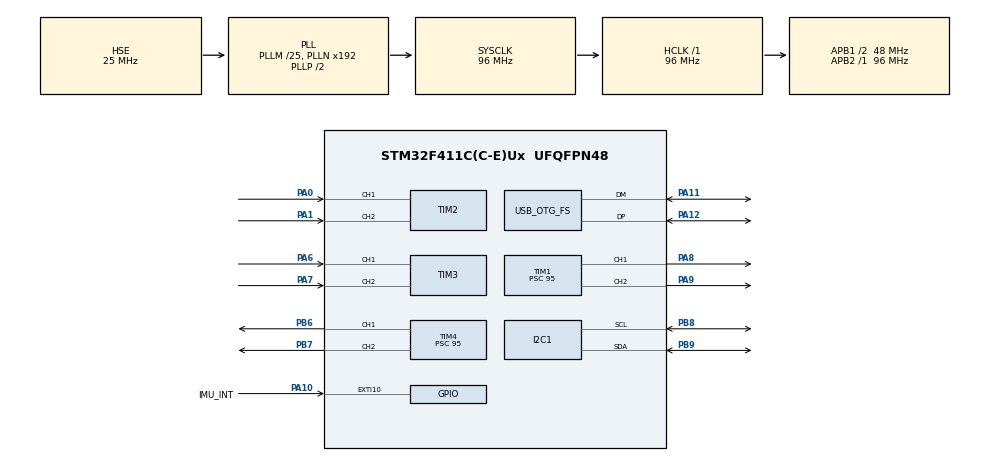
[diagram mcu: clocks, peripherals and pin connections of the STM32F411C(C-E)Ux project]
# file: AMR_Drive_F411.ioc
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FREERTOS.Events01=SystemEvents,Static,SystemEventsControlBlock
FREERTOS.INCLUDE_uxTaskGetStackHighWaterMark2=1
FREERTOS.Queues01=DriveCmdQueue,4,DriveCommand_t,0,Static,DriveCmdQueueBuffer,DriveCmdQueueControlBlock;UsbRxQueue,8,UsbRxChunk_t,0,Static,UsbRxQueueBuffer,UsbRxQueueControlBlock;TelemetryQueue,4,TelemetryData_t,0,Static,TelemetryQueueBuffer,TelemetryQueueControlBlock
FREERTOS.Tasks01=SafetyTask,48,256,StartSafetyTask,Default,NULL,Static,SafetyTaskBuffer,SafetyTaskControlBlock;MotorCtrlTask,40,384,StartMotorCtrlTask,Default,NULL,Static,MotorCtrlTaskBuffer,MotorCtrlTaskControlBlock;CommTask,32,512,StartCommTask,Default,NULL,Static,CommTaskBuffer,CommTaskControlBlock;ImuTask,24,384,StartImuTask,Default,NULL,Static,ImuTaskBuffer,ImuTaskControlBlock;TelemetryTask,16,384,StartTelemetryTask,Default,NULL,Static,TelemetryTaskBuffer,TelemetryTaskControlBlock;DiagTask,8,256,StartDiagTask,Default,NULL,Static,DiagTaskBuffer,DiagTaskControlBlock
FREERTOS.configCHECK_FOR_STACK_OVERFLOW=2
FREERTOS.configENABLE_FPU=1
FREERTOS.configTOTAL_HEAP_SIZE=16384
FREERTOS.configUSE_MALLOC_FAILED_HOOK=1
I2C1.I2C_Mode=I2C_Standard
Mcu.Family=STM32F4
Mcu.Name=STM32F411C(C-E)Ux
Mcu.Package=UFQFPN48
NVIC.EXTI15_10_IRQn=true\:7\:0\:true\:false\:true\:true\:true\:true\:true
NVIC.OTG_FS_IRQn=true\:6\:0\:true\:false\:true\:true\:false\:true\:true
NVIC.PriorityGroup=NVIC_PRIORITYGROUP_4
NVIC.TIM5_IRQn=true\:15\:0\:false\:false\:true\:false\:false\:true\:true
NVIC.TimeBase=TIM5_IRQn
NVIC.TimeBaseIP=TIM5
PA0-WKUP.Signal=S_TIM2_CH1_ETR
PA1.Signal=S_TIM2_CH2
PA10.GPIO_Label=IMU_INT
PA10.GPIO_PuPd=GPIO_NOPULL
PA10.Signal=GPXTI10
PA11.Mode=Device_Only
PA11.Signal=USB_OTG_FS_DM
PA12.Mode=Device_Only
PA12.Signal=USB_OTG_FS_DP
PA13.Mode=Serial_Wire
PA13.Signal=SYS_JTMS-SWDIO
PA14.Mode=Serial_Wire
PA14.Signal=SYS_JTCK-SWCLK
PA6.Signal=S_TIM3_CH1
PA7.Signal=S_TIM3_CH2
PA8.Signal=S_TIM1_CH1
PA9.Signal=S_TIM1_CH2
PB6.Signal=S_TIM4_CH1
PB7.Signal=S_TIM4_CH2
PB8.Mode=I2C
PB8.Signal=I2C1_SCL
PB9.Mode=I2C
PB9.Signal=I2C1_SDA
PH0\ -\ OSC_IN.Mode=HSE-External-Oscillator
PH0\ -\ OSC_IN.Signal=RCC_OSC_IN
PH1\ -\ OSC_OUT.Mode=HSE-External-Oscillator
PH1\ -\ OSC_OUT.Signal=RCC_OSC_OUT
ProjectManager.HeapSize=0x200
ProjectManager.StackSize=0x400
ProjectManager.TargetToolchain=STM32CubeIDE
RCC.48MHZClocksFreq_Value=48000000
RCC.AHBFreq_Value=96000000
RCC.APB1CLKDivider=RCC_HCLK_DIV2
RCC.APB1Freq_Value=48000000
RCC.APB1TimFreq_Value=96000000
RCC.APB2Freq_Value=96000000
RCC.APB2TimFreq_Value=96000000
RCC.CortexFreq_Value=96000000
RCC.HCLKFreq_Value=96000000
RCC.HSE_VALUE=25000000
RCC.HSI_VALUE=16000000
RCC.LSE_VALUE=32768
RCC.PLLM=25
RCC.SYSCLKFreq_VALUE=96000000
RCC.SYSCLKSource=RCC_SYSCLKSOURCE_PLLCLK
RCC.VCOOutputFreq_Value=192000000
SH.S_TIM1_CH1.0=TIM1_CH1,PWM Generation1 CH1
SH.S_TIM1_CH2.0=TIM1_CH2,PWM Generation2 CH2
SH.S_TIM2_CH1_ETR.0=TIM2_CH1,Encoder_Interface
SH.S_TIM2_CH2.0=TIM2_CH2,Encoder_Interface
SH.S_TIM3_CH1.0=TIM3_CH1,Encoder_Interface
SH.S_TIM3_CH2.0=TIM3_CH2,Encoder_Interface
SH.S_TIM4_CH1.0=TIM4_CH1,PWM Generation1 CH1
SH.S_TIM4_CH2.0=TIM4_CH2,PWM Generation2 CH2
TIM1.AutoReloadPreload=TIM_AUTORELOAD_PRELOAD_ENABLE
TIM1.Channel-PWM\ Generation1\ CH1=TIM_CHANNEL_1
TIM1.Channel-PWM\ Generation2\ CH2=TIM_CHANNEL_2
TIM1.Period=999
TIM1.Prescaler=95
TIM2.EncoderMode=TIM_ENCODERMODE_TI12
TIM2.IC1Filter=8
TIM2.IC2Filter=8
TIM3.EncoderMode=TIM_ENCODERMODE_TI12
TIM3.IC1Filter=8
TIM3.IC2Filter=8
TIM4.AutoReloadPreload=TIM_AUTORELOAD_PRELOAD_ENABLE
TIM4.Channel-PWM\ Generation1\ CH1=TIM_CHANNEL_1
TIM4.Channel-PWM\ Generation2\ CH2=TIM_CHANNEL_2
TIM4.ClockDivision=TIM_CLOCKDIVISION_DIV1
TIM4.Period=999
TIM4.Prescaler=95
USB_DEVICE.APP_RX_DATA_SIZE=512
USB_DEVICE.APP_TX_DATA_SIZE=512
USB_DEVICE.CLASS_NAME_FS=CDC
USB_DEVICE.USBD_SELF_POWERED=0
USB_DEVICE.VirtualMode=Cdc
USB_DEVICE.VirtualModeFS=Cdc_FS
USB_OTG_FS.VirtualMode=Device_Only
VP_FREERTOS_VS_CMSIS_V2.Mode=CMSIS_V2
VP_SYS_VS_tim5.Mode=TIM5
VP_TIM1_VS_ClockSourceINT.Mode=Internal
VP_TIM4_VS_ClockSourceINT.Mode=Internal
VP_USB_DEVICE_VS_USB_DEVICE_CDC_FS.Mode=CDC_FS
board=custom

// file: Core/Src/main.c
/* USER CODE BEGIN Header */
/**
  ******************************************************************************
  * @file           : main.c
  * @brief          : Main program body
  ******************************************************************************
  * @attention
  *
  * Copyright (c) 2026 STMicroelectronics.
  * All rights reserved.
  *
  * This software is licensed under terms that can be found in the LICENSE file
  * in the root directory of this software component.
  * If no LICENSE file comes with this software, it is provided AS-IS.
  *
  ******************************************************************************
  */
/* USER CODE END Header */

#include "main.h"
#include "cmsis_os.h"
#include "i2c.h"
#include "tim.h"
#include "usb_device.h"
#include "gpio.h"

void SystemClock_Config(void);
void MX_FREERTOS_Init(void);

int main(void)
{

  /* MCU Configuration--------------------------------------------------------*/

  /* Reset of all peripherals, Initializes the Flash interface and the Systick. */
  HAL_Init();

  /* Configure the system clock */
  SystemClock_Config();

  /* Initialize all configured peripherals */
  MX_GPIO_Init();
  MX_I2C1_Init();
  MX_TIM1_Init();
  MX_TIM2_Init();
  MX_TIM3_Init();
  MX_TIM4_Init();

  /* Init scheduler */
  osKernelInitialize();

  /* Call init function for freertos objects */
  MX_FREERTOS_Init();

  /* Start scheduler */
  osKernelStart();

  /* We should never get here as control is now taken by the scheduler */

  /* Infinite loop */
  while (1)
  {

  }
}

void SystemClock_Config(void)
{
  RCC_OscInitTypeDef RCC_OscInitStruct = {0};
  RCC_ClkInitTypeDef RCC_ClkInitStruct = {0};

  /** Configure the main internal regulator output voltage
  */
  __HAL_RCC_PWR_CLK_ENABLE();
  __HAL_PWR_VOLTAGESCALING_CONFIG(PWR_REGULATOR_VOLTAGE_SCALE1);

  /** Initializes the RCC Oscillators according to the specified parameters
  * in the RCC_OscInitTypeDef structure.
  */
  RCC_OscInitStruct.OscillatorType = RCC_OSCILLATORTYPE_HSE;
  RCC_OscInitStruct.HSEState = RCC_HSE_ON;
  RCC_OscInitStruct.PLL.PLLState = RCC_PLL_ON;
  RCC_OscInitStruct.PLL.PLLSource = RCC_PLLSOURCE_HSE;
  RCC_OscInitStruct.PLL.PLLM = 25;
  RCC_OscInitStruct.PLL.PLLN = 192;
  RCC_OscInitStruct.PLL.PLLP = RCC_PLLP_DIV2;
  RCC_OscInitStruct.PLL.PLLQ = 4;

  if (HAL_RCC_OscConfig(&RCC_OscInitStruct) != HAL_OK)
  {
    Error_Handler();
  }

  /** Initializes the CPU, AHB and APB buses clocks
  */
  RCC_ClkInitStruct.ClockType =
      RCC_CLOCKTYPE_HCLK |
      RCC_CLOCKTYPE_SYSCLK |
      RCC_CLOCKTYPE_PCLK1 |
      RCC_CLOCKTYPE_PCLK2;

  RCC_ClkInitStruct.SYSCLKSource = RCC_SYSCLKSOURCE_PLLCLK;
  RCC_ClkInitStruct.AHBCLKDivider = RCC_SYSCLK_DIV1;
  RCC_ClkInitStruct.APB1CLKDivider = RCC_HCLK_DIV2;
  RCC_ClkInitStruct.APB2CLKDivider = RCC_HCLK_DIV1;

  if (HAL_RCC_ClockConfig(
          &RCC_ClkInitStruct,
          FLASH_LATENCY_3) != HAL_OK)
  {
    Error_Handler();
  }
}

void HAL_TIM_PeriodElapsedCallback(TIM_HandleTypeDef *htim)
{

  if (htim->Instance == TIM5)
  {
    HAL_IncTick();
  }

}

void Error_Handler(void)
{
  __disable_irq();
  while (1)
  {
  }
}

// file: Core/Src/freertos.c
/* USER CODE BEGIN Header */

/**

  ******************************************************************************

  * File Name          : freertos.c

  * Description        : Code for freertos applications

  ******************************************************************************

  * @attention

  *

  * Copyright (c) 2026 STMicroelectronics.

  * All rights reserved.

  *

  * This software is licensed under terms that can be found in the LICENSE file

  * in the root directory of this software component.

  * If no LICENSE file comes with this software, it is provided AS-IS.

  *

  ******************************************************************************

  */

/* USER CODE END Header */

#include "FreeRTOS.h"

#include "task.h"

#include "main.h"

#include "cmsis_os.h"

/* USER CODE BEGIN Includes */

#include "app_types.h"

#include "amr/amr_messages.h"

#include "app_comm.h"

#include "distance_controller.h"

#include "drive_command_policy.h"

#include "drive_encoder.h"

#include "drive_kinematics.h"

#include "drive_odometry.h"

#include "drive_motor.h"

#include "drive_motion_profile.h"

#include "drive_speed_control.h"

#include "i2c.h"

#include "imu_heading.h"

#include "imu_heading_hold.h"

#include "imu_bno055.h"

#include "turn_controller.h"

/* USER CODE END Includes */

typedef StaticTask_t osStaticThreadDef_t;

typedef StaticQueue_t osStaticMessageQDef_t;

typedef StaticEventGroup_t osStaticEventGroupDef_t;

/* USER CODE BEGIN PD */

/*
 * V3.2 NORMAL STOP ACTIVE BRAKE
 *
 * A deliberate WHEEL_SPEED 0/0 command keeps the motor-enable authority
 * alive briefly so DriveSpeedControl_Update(0, 0, measured, measured)
 * can execute the V3 active-brake branch before the bridge is released.
 *
 * FAULT / ESTOP / motor-disable paths still stop immediately.
 */
#define DRIVE_NORMAL_STOP_BRAKE_TIMEOUT_MS        (500U)
#define DRIVE_NORMAL_STOP_SETTLE_RAD_S             (0.03f)
#define DRIVE_NORMAL_STOP_SETTLE_HOLD_MS            (40U)

/* USER CODE END PD */

/* USER CODE BEGIN Variables */

volatile int64_t g_encoder_left_count = 0;

volatile int64_t g_encoder_right_count = 0;

volatile int32_t g_encoder_left_delta = 0;

volatile int32_t g_encoder_right_delta = 0;

volatile float g_wheel_left_position_m = 0.0f;

volatile float g_wheel_right_position_m = 0.0f;

volatile float g_wheel_left_speed_m_s = 0.0f;

volatile float g_wheel_right_speed_m_s = 0.0f;

volatile float g_wheel_left_speed_raw_m_s = 0.0f;

volatile float g_wheel_right_speed_raw_m_s = 0.0f;

volatile float g_wheel_left_rpm = 0.0f;

volatile float g_wheel_right_rpm = 0.0f;

volatile float g_wheel_left_speed_rad_s = 0.0f;

volatile float g_wheel_right_speed_rad_s = 0.0f;

volatile float g_drive_target_left_rad_s = 0.0f;

volatile float g_drive_target_right_rad_s = 0.0f;

volatile float g_drive_error_left_rad_s = 0.0f;

volatile float g_drive_error_right_rad_s = 0.0f;

volatile int16_t g_drive_left_pwm = 0;

volatile int16_t g_drive_right_pwm = 0;

volatile uint32_t g_drive_command_age_ms = 0U;

volatile uint32_t g_drive_timeout_count = 0U;

volatile uint8_t g_drive_command_active = 0U;

volatile uint32_t g_drive_command_refresh_count = 0U;

volatile uint32_t g_drive_controller_reset_count = 0U;

volatile uint8_t g_imu_ready = 0U;

volatile uint8_t g_imu_who_am_i = 0U;

volatile uint32_t g_imu_sample_count = 0U;

volatile uint32_t g_imu_error_count = 0U;

volatile uint32_t g_imu_calibration_count = 0U;

volatile uint32_t g_imu_calibration_reset_count = 0U;

volatile float g_imu_accel_x_m_s2 = 0.0f;

volatile float g_imu_accel_y_m_s2 = 0.0f;

volatile float g_imu_accel_z_m_s2 = 0.0f;

volatile float g_imu_temperature_c = 0.0f;

volatile float g_imu_gyro_bias_z_dps = 0.0f;

volatile float g_imu_gyro_z_dps = 0.0f;

volatile float g_imu_gyro_z_rad_s = 0.0f;

volatile float g_imu_yaw_rad = 0.0f;

/* Display-only diagnostics for STM32CubeIDE Live Expressions.

 * These variables are NOT used by any controller or estimator.

 */

volatile float g_imu_yaw_deg = 0.0f;

volatile float g_imu_bno_fused_yaw_deg = 0.0f;

/* User-facing zero command for CubeIDE Live Expressions.

 *

 * Write 1 while the robot is physically aligned with the chosen reference.

 * The IMU task consumes it on a fresh valid sample, makes current yaw = 0 deg,

 * then automatically writes it back to 0.

 *

 * Diagnostics only:

 *   g_imu_zero_count   increments after each successful zero.

 *   g_imu_zero_status  0=idle, 1=success, 2=waiting/not-ready.

 */

volatile uint8_t g_imu_zero_request = 0U;

volatile uint32_t g_imu_zero_count = 0U;

volatile uint8_t g_imu_zero_status = 0U;

/* BNO055 source-filter debug variables.

 * These are diagnostics only; they are not used by control logic.

 */

volatile float g_imu_raw_gyro_z_dps = 0.0f;

volatile float g_imu_filtered_gyro_z_dps = 0.0f;

volatile float g_imu_bno_fused_yaw_rad = 0.0f;

volatile uint32_t g_imu_stationary_count = 0U;

volatile uint32_t g_imu_rejected_orientation_count = 0U;

volatile uint8_t g_heading_hold_active = 0U;

volatile float g_heading_reference_rad = 0.0f;

volatile float g_heading_error_rad = 0.0f;

volatile float g_heading_correction_rad_s = 0.0f;

volatile float g_heading_desired_yaw_rate_rad_s = 0.0f;

volatile float g_heading_yaw_rate_error_rad_s = 0.0f;

volatile float g_heading_rate_ff_correction_rad_s = 0.0f;

volatile float g_heading_rate_p_correction_rad_s = 0.0f;

volatile float g_heading_rate_i_correction_rad_s = 0.0f;

volatile uint8_t g_heading_controller_version =

    (IMU_HEADING_HOLD_V2_ENABLE != 0) ? 2U : 1U;

volatile uint8_t g_heading_correction_saturated = 0U;

volatile uint8_t g_motion_profile_status = DRIVE_MOTION_PROFILE_IDLE;

volatile uint8_t g_motion_profile_fault = 0U;

volatile uint8_t g_turn_status = TURN_CONTROLLER_IDLE;

volatile uint8_t g_turn_active = 0U;

volatile float g_turn_target_angle_rad = 0.0f;

volatile float g_turn_traveled_angle_rad = 0.0f;

volatile float g_turn_error_rad = 0.0f;

volatile float g_turn_yaw_rate_command_rad_s = 0.0f;

volatile uint32_t g_turn_complete_count = 0U;

volatile uint32_t g_turn_timeout_count = 0U;

volatile uint32_t g_turn_imu_fault_count = 0U;

volatile uint8_t g_distance_status = DISTANCE_CONTROLLER_IDLE;

volatile uint8_t g_distance_active = 0U;

volatile float g_distance_target_m = 0.0f;

volatile float g_distance_traveled_m = 0.0f;

volatile float g_distance_remaining_m = 0.0f;

volatile float g_distance_speed_command_m_s = 0.0f;

volatile uint32_t g_distance_complete_count = 0U;

volatile uint32_t g_distance_timeout_count = 0U;

volatile uint32_t g_distance_measurement_fault_count = 0U;

volatile uint8_t g_odom_ready = 0U;

volatile float g_odom_x_m = 0.0f;

volatile float g_odom_y_m = 0.0f;

volatile float g_odom_yaw_rad = 0.0f;

volatile float g_odom_linear_velocity_m_s = 0.0f;

volatile float g_odom_angular_velocity_rad_s = 0.0f;

volatile uint32_t g_odom_sample_count = 0U;

volatile uint32_t g_odom_error_count = 0U;

volatile uint32_t g_odom_reset_count = 0U;

/* USER CODE END Variables */

/* Definitions for SafetyTask */

osThreadId_t SafetyTaskHandle;

uint32_t SafetyTaskBuffer[ 256 ];

osStaticThreadDef_t SafetyTaskControlBlock;

const osThreadAttr_t SafetyTask_attributes = {

  .name = "SafetyTask",

  .cb_mem = &SafetyTaskControlBlock,

  .cb_size = sizeof(SafetyTaskControlBlock),

  .stack_mem = &SafetyTaskBuffer[0],

  .stack_size = sizeof(SafetyTaskBuffer),

  .priority = (osPriority_t) osPriorityRealtime,

};

/* Definitions for MotorCtrlTask */

osThreadId_t MotorCtrlTaskHandle;

uint32_t MotorCtrlTaskBuffer[ 384 ];

osStaticThreadDef_t MotorCtrlTaskControlBlock;

const osThreadAttr_t MotorCtrlTask_attributes = {

  .name = "MotorCtrlTask",

  .cb_mem = &MotorCtrlTaskControlBlock,

  .cb_size = sizeof(MotorCtrlTaskControlBlock),

  .stack_mem = &MotorCtrlTaskBuffer[0],

  .stack_size = sizeof(MotorCtrlTaskBuffer),

  .priority = (osPriority_t) osPriorityHigh,

};

/* Definitions for CommTask */

osThreadId_t CommTaskHandle;

uint32_t CommTaskBuffer[ 512 ];

osStaticThreadDef_t CommTaskControlBlock;

const osThreadAttr_t CommTask_attributes = {

  .name = "CommTask",

  .cb_mem = &CommTaskControlBlock,

  .cb_size = sizeof(CommTaskControlBlock),

  .stack_mem = &CommTaskBuffer[0],

  .stack_size = sizeof(CommTaskBuffer),

  .priority = (osPriority_t) osPriorityAboveNormal,

};

/* Definitions for ImuTask */

osThreadId_t ImuTaskHandle;

uint32_t ImuTaskBuffer[ 384 ];

osStaticThreadDef_t ImuTaskControlBlock;

const osThreadAttr_t ImuTask_attributes = {

  .name = "ImuTask",

  .cb_mem = &ImuTaskControlBlock,

  .cb_size = sizeof(ImuTaskControlBlock),

  .stack_mem = &ImuTaskBuffer[0],

  .stack_size = sizeof(ImuTaskBuffer),

  .priority = (osPriority_t) osPriorityNormal,

};

/* Definitions for TelemetryTask */

osThreadId_t TelemetryTaskHandle;

uint32_t TelemetryTaskBuffer[ 384 ];

osStaticThreadDef_t TelemetryTaskControlBlock;

const osThreadAttr_t TelemetryTask_attributes = {

  .name = "TelemetryTask",

  .cb_mem = &TelemetryTaskControlBlock,

  .cb_size = sizeof(TelemetryTaskControlBlock),

  .stack_mem = &TelemetryTaskBuffer[0],

  .stack_size = sizeof(TelemetryTaskBuffer),

  .priority = (osPriority_t) osPriorityBelowNormal,

};

/* Definitions for DiagTask */

osThreadId_t DiagTaskHandle;

uint32_t DiagTaskBuffer[ 256 ];

osStaticThreadDef_t DiagTaskControlBlock;

const osThreadAttr_t DiagTask_attributes = {

  .name = "DiagTask",

  .cb_mem = &DiagTaskControlBlock,

  .cb_size = sizeof(DiagTaskControlBlock),

  .stack_mem = &DiagTaskBuffer[0],

  .stack_size = sizeof(DiagTaskBuffer),

  .priority = (osPriority_t) osPriorityLow,

};

/* Definitions for DriveCmdQueue */

osMessageQueueId_t DriveCmdQueueHandle;

uint8_t DriveCmdQueueBuffer[ 4 * sizeof( DriveCommand_t ) ];

osStaticMessageQDef_t DriveCmdQueueControlBlock;

const osMessageQueueAttr_t DriveCmdQueue_attributes = {

  .name = "DriveCmdQueue",

  .cb_mem = &DriveCmdQueueControlBlock,

  .cb_size = sizeof(DriveCmdQueueControlBlock),

  .mq_mem = &DriveCmdQueueBuffer,

  .mq_size = sizeof(DriveCmdQueueBuffer)

};

/* Definitions for UsbRxQueue */

osMessageQueueId_t UsbRxQueueHandle;

uint8_t UsbRxQueueBuffer[ 8 * sizeof( UsbRxChunk_t ) ];

osStaticMessageQDef_t UsbRxQueueControlBlock;

const osMessageQueueAttr_t UsbRxQueue_attributes = {

  .name = "UsbRxQueue",

  .cb_mem = &UsbRxQueueControlBlock,

  .cb_size = sizeof(UsbRxQueueControlBlock),

  .mq_mem = &UsbRxQueueBuffer,

  .mq_size = sizeof(UsbRxQueueBuffer)

};

/* Definitions for TelemetryQueue */

osMessageQueueId_t TelemetryQueueHandle;

uint8_t TelemetryQueueBuffer[ 4 * sizeof( TelemetryData_t ) ];

osStaticMessageQDef_t TelemetryQueueControlBlock;

const osMessageQueueAttr_t TelemetryQueue_attributes = {

  .name = "TelemetryQueue",

  .cb_mem = &TelemetryQueueControlBlock,

  .cb_size = sizeof(TelemetryQueueControlBlock),

  .mq_mem = &TelemetryQueueBuffer,

  .mq_size = sizeof(TelemetryQueueBuffer)

};

/* Definitions for SystemEvents */

osEventFlagsId_t SystemEventsHandle;

osStaticEventGroupDef_t SystemEventsControlBlock;

const osEventFlagsAttr_t SystemEvents_attributes = {

  .name = "SystemEvents",

  .cb_mem = &SystemEventsControlBlock,

  .cb_size = sizeof(SystemEventsControlBlock),

};

void StartSafetyTask(void *argument);

void StartMotorCtrlTask(void *argument);

void StartCommTask(void *argument);

void StartImuTask(void *argument);

void StartTelemetryTask(void *argument);

void StartDiagTask(void *argument);

extern void MX_USB_DEVICE_Init(void);

void MX_FREERTOS_Init(void); /* (MISRA C 2004 rule 8.1) */

/* Hook prototypes */

void vApplicationStackOverflowHook(xTaskHandle xTask, signed char *pcTaskName);

void vApplicationMallocFailedHook(void);

/* USER CODE BEGIN 4 */

void vApplicationStackOverflowHook(xTaskHandle xTask, signed char *pcTaskName)

{

   /* Run time stack overflow checking is performed if

   configCHECK_FOR_STACK_OVERFLOW is defined to 1 or 2. This hook function is

   called if a stack overflow is detected. */

}

/* USER CODE END 4 */

/* USER CODE BEGIN 5 */

void vApplicationMallocFailedHook(void)

{

   /* vApplicationMallocFailedHook() will only be called if

   configUSE_MALLOC_FAILED_HOOK is set to 1 in FreeRTOSConfig.h. It is a hook

   function that will get called if a call to pvPortMalloc() fails.

   pvPortMalloc() is called internally by the kernel whenever a task, queue,

   timer or semaphore is created. It is also called by various parts of the

   demo application. If heap_1.c or heap_2.c are used, then the size of the

   heap available to pvPortMalloc() is defined by configTOTAL_HEAP_SIZE in

   FreeRTOSConfig.h, and the xPortGetFreeHeapSize() API function can be used

   to query the size of free heap space that remains (although it does not

   provide information on how the remaining heap might be fragmented). */

}

/* USER CODE END 5 */

void MX_FREERTOS_Init(void) {

  /* Create the queue(s) */

  /* creation of DriveCmdQueue */

  DriveCmdQueueHandle = osMessageQueueNew (4, sizeof(DriveCommand_t), &DriveCmdQueue_attributes);

  /* creation of UsbRxQueue */

  UsbRxQueueHandle = osMessageQueueNew (8, sizeof(UsbRxChunk_t), &UsbRxQueue_attributes);

  /* creation of TelemetryQueue */

  TelemetryQueueHandle = osMessageQueueNew (4, sizeof(TelemetryData_t), &TelemetryQueue_attributes);

  /* Create the thread(s) */

  /* creation of SafetyTask */

  SafetyTaskHandle = osThreadNew(StartSafetyTask, NULL, &SafetyTask_attributes);

  /* creation of MotorCtrlTask */

  MotorCtrlTaskHandle = osThreadNew(StartMotorCtrlTask, NULL, &MotorCtrlTask_attributes);

  /* creation of CommTask */

  CommTaskHandle = osThreadNew(StartCommTask, NULL, &CommTask_attributes);

  /* creation of ImuTask */

  ImuTaskHandle = osThreadNew(StartImuTask, NULL, &ImuTask_attributes);

  /* creation of TelemetryTask */

  TelemetryTaskHandle = osThreadNew(StartTelemetryTask, NULL, &TelemetryTask_attributes);

  /* creation of DiagTask */

  DiagTaskHandle = osThreadNew(StartDiagTask, NULL, &DiagTask_attributes);

  /* Create the event(s) */

  /* creation of SystemEvents */

  SystemEventsHandle = osEventFlagsNew(&SystemEvents_attributes);

}

void StartSafetyTask(void *argument)

{

  /* init code for USB_DEVICE */

  MX_USB_DEVICE_Init();

  /* USER CODE BEGIN StartSafetyTask */

    if (!DriveMotor_Init())

    {

        (void)osEventFlagsSet(SystemEventsHandle, AMR_EVT_FAULT);

    }

    for (;;)

    {

        uint32_t flags = osEventFlagsGet(SystemEventsHandle);

        if ((flags & (AMR_EVT_MOTOR_ENABLED |

                      AMR_EVT_FAULT |

                      AMR_EVT_ESTOP)) != AMR_EVT_MOTOR_ENABLED)

        {

            DriveMotor_Stop();

        }

        osDelay(5);

    }

  /* USER CODE END StartSafetyTask */

}

void StartMotorCtrlTask(void *argument)

{

  /* USER CODE BEGIN StartMotorCtrlTask */

    DriveEncoderSample_t encoder = {0};

    DriveKinematicsSample_t kinematics = {0};

    DriveSpeedControlOutput_t control_output = {0};

    DriveMotionProfileState_t motion_profile_state = {0};

    DriveMotionProfileOutput_t motion_profile_output = {0};

    ImuHeadingHoldState_t heading_hold_state = {0};

    ImuHeadingHoldOutput_t heading_hold_output = {0};

    TurnControllerState_t turn_state = {0};

    TurnControllerOutput_t turn_output = {0};

    DistanceControllerState_t distance_state = {0};

    DistanceControllerOutput_t distance_output = {0};

    DriveOdometryState_t odometry_state = {0};

    DriveOdometryOutput_t odometry_output = {0};

    DriveCommand_t active_command = {0};

    uint32_t next_wake = osKernelGetTickCount();

    bool command_active = false;

    bool kinematics_valid = false;

    /* V3.2 normal-command stop handoff state. */
    bool normal_stop_brake_active = false;
    uint32_t normal_stop_brake_started_ms = 0U;
    uint32_t normal_stop_brake_settle_started_ms = 0U;

    DriveKinematics_Init();

    DriveSpeedControl_Init();

    DriveMotionProfile_Init(&motion_profile_state);

    ImuHeadingHold_Init(&heading_hold_state);

    TurnController_Init(&turn_state);

    DistanceController_Init(&distance_state);

    DriveOdometry_Init(&odometry_state);

    if (!DriveEncoder_Init())

    {

        (void)osEventFlagsSet(SystemEventsHandle, AMR_EVT_FAULT);

    }

    for (;;)

    {

        const uint32_t now_ms = osKernelGetTickCount();

        if (DriveEncoder_Sample(&encoder))

        {

            g_encoder_left_count = encoder.left_total_count;

            g_encoder_right_count = encoder.right_total_count;

            g_encoder_left_delta = encoder.left_delta_count;

            g_encoder_right_delta = encoder.right_delta_count;

            if (DriveKinematics_Update(&encoder, &kinematics))

            {

                kinematics_valid = true;

                g_wheel_left_position_m = kinematics.left_position_m;

                g_wheel_right_position_m = kinematics.right_position_m;

                g_wheel_left_speed_m_s = kinematics.left_speed_m_s;

                g_wheel_right_speed_m_s = kinematics.right_speed_m_s;

                g_wheel_left_speed_raw_m_s =

                    kinematics.left_speed_raw_m_s;

                g_wheel_right_speed_raw_m_s =

                    kinematics.right_speed_raw_m_s;

                g_wheel_left_rpm = kinematics.left_speed_rpm;

                g_wheel_right_rpm = kinematics.right_speed_rpm;

                g_wheel_left_speed_rad_s =

                    kinematics.left_speed_rad_s;

                g_wheel_right_speed_rad_s =

                    kinematics.right_speed_rad_s;

                const bool odometry_updated =

                    DriveOdometry_Update(

                        &odometry_state,

                        (g_imu_ready != 0U),

                        kinematics.left_position_m,

                        kinematics.right_position_m,

                        kinematics.left_speed_m_s,

                        kinematics.right_speed_m_s,

                        g_imu_yaw_rad,

                        g_imu_gyro_z_rad_s,

                        now_ms,

                        &odometry_output);

                g_odom_ready =

                    (odometry_updated && odometry_output.valid) ? 1U : 0U;

                g_odom_x_m = odometry_output.x_m;

                g_odom_y_m = odometry_output.y_m;

                g_odom_yaw_rad = odometry_output.yaw_rad;

                g_odom_linear_velocity_m_s =

                    odometry_output.linear_velocity_m_s;

                g_odom_angular_velocity_rad_s =

                    odometry_output.angular_velocity_rad_s;

                g_odom_sample_count = odometry_output.sample_count;

                g_odom_reset_count = odometry_state.reset_count;

                if (!odometry_updated && (g_imu_ready != 0U))

                {

                    ++g_odom_error_count;

                }

            }

        }

        /* Queue chi giu lenh moi nhat; doc het neu co hon mot lenh. */

        DriveCommand_t received_command;

        DriveCommandPolicy_t command_policy =

        {

            .preserve_speed_controller = false,

            .reset_heading_hold = true

        };

        bool received_new_command = false;

        while (osMessageQueueGet(DriveCmdQueueHandle,

                                 &received_command,

                                 NULL,

                                 0U) == osOK)

        {

            command_policy = DriveCommandPolicy_Evaluate(

                command_active,

                &active_command,

                &received_command);

            active_command = received_command;

            received_new_command = true;

        }

        const bool received_zero_wheel_command =
            received_new_command &&
            (active_command.command_type == AMR_MOTION_COMMAND_WHEEL_SPEED) &&
            (active_command.left_target_mrad_s == 0) &&
            (active_command.right_target_mrad_s == 0);

        if (received_new_command && !received_zero_wheel_command)
        {
            normal_stop_brake_active = false;
            normal_stop_brake_settle_started_ms = 0U;
        }

        if (received_new_command)

        {

            /*
             * V3.2: preserve wheel-controller output state for an explicit
             * normal 0/0 stop so the active-brake branch can slew from the
             * actual last PWM instead of being reset to zero first.
             */
            if (command_policy.preserve_speed_controller ||
                received_zero_wheel_command)

            {

                ++g_drive_command_refresh_count;

                if (command_policy.reset_heading_hold)

                {

                    DriveMotionProfile_Reset(&motion_profile_state);

                    ImuHeadingHold_Reset(&heading_hold_state);

                }

            }

            else

            {

                DriveSpeedControl_Reset();

                DriveMotionProfile_Reset(&motion_profile_state);

                ImuHeadingHold_Reset(&heading_hold_state);

                TurnController_Cancel(&turn_state);

                DistanceController_Cancel(&distance_state);

                ++g_drive_controller_reset_count;

                g_motion_profile_status = DRIVE_MOTION_PROFILE_IDLE;

                g_motion_profile_fault = 0U;

                g_turn_active = 0U;

                g_turn_status = TURN_CONTROLLER_IDLE;

                g_turn_target_angle_rad = 0.0f;

                g_turn_traveled_angle_rad = 0.0f;

                g_turn_error_rad = 0.0f;

                g_turn_yaw_rate_command_rad_s = 0.0f;

                g_distance_active = 0U;

                g_distance_status = DISTANCE_CONTROLLER_IDLE;

                g_distance_target_m = 0.0f;

                g_distance_traveled_m = 0.0f;

                g_distance_remaining_m = 0.0f;

                g_distance_speed_command_m_s = 0.0f;

            }

            if (active_command.command_type ==

                AMR_MOTION_COMMAND_TURN_RELATIVE)

            {

                const bool turn_started =

                    (g_imu_ready != 0U) &&

                    TurnController_Start(

                        &turn_state,

                        (float)active_command.turn_angle_mrad * 0.001f,

                        (float)active_command.turn_max_yaw_rate_mrad_s *

                            0.001f,

                        (uint32_t)active_command.timeout_ms,

                        g_imu_yaw_rad,

                        now_ms);

                if (!turn_started)

                {

                    DriveMotor_Stop();

                    command_active = false;

                    g_drive_command_active = 0U;

                    g_turn_active = 0U;

                    g_turn_status = TURN_CONTROLLER_FAULT_IMU;

                    ++g_turn_imu_fault_count;

                    (void)osEventFlagsClear(

                        SystemEventsHandle,

                        AMR_EVT_CMD_VALID | AMR_EVT_MOTOR_ENABLED);

                    (void)osEventFlagsSet(SystemEventsHandle,

                                          AMR_EVT_FAULT);

                }

                else

                {

                    command_active = true;

                    g_drive_command_active = 1U;

                    g_turn_active = 1U;

                    g_turn_status = TURN_CONTROLLER_RUNNING;

                    g_turn_target_angle_rad =

                        (float)active_command.turn_angle_mrad * 0.001f;

                    g_turn_traveled_angle_rad = 0.0f;

                    g_turn_error_rad = g_turn_target_angle_rad;

                    g_turn_yaw_rate_command_rad_s = 0.0f;

                }

            }

            else if (active_command.command_type ==

                     AMR_MOTION_COMMAND_DRIVE_DISTANCE)

            {

                const bool distance_started =

                    kinematics_valid &&

                    (g_imu_ready != 0U) &&

                    DistanceController_Start(

                        &distance_state,

                        (float)active_command.distance_mm * 0.001f,

                        (float)active_command.distance_max_speed_mm_s *

                            0.001f,

                        (uint32_t)active_command.timeout_ms,

                        kinematics.left_position_m,

                        kinematics.right_position_m,

                        now_ms);

                if (!distance_started)

                {

                    DriveMotor_Stop();

                    command_active = false;

                    g_drive_command_active = 0U;

                    g_distance_active = 0U;

                    g_distance_status =

                        (kinematics_valid && (g_imu_ready != 0U)) ?

                        (uint8_t)distance_state.status :

                        (uint8_t)DISTANCE_CONTROLLER_FAULT_MEASUREMENT;

                    ++g_distance_measurement_fault_count;

                    (void)osEventFlagsClear(

                        SystemEventsHandle,

                        AMR_EVT_CMD_VALID | AMR_EVT_MOTOR_ENABLED);

                    (void)osEventFlagsSet(SystemEventsHandle,

                                          AMR_EVT_FAULT);

                }

                else

                {

                    command_active = true;

                    g_drive_command_active = 1U;

                    g_distance_active = 1U;

                    g_distance_status = DISTANCE_CONTROLLER_RUNNING;

                    g_distance_target_m =

                        (float)active_command.distance_mm * 0.001f;

                    g_distance_traveled_m = 0.0f;

                    g_distance_remaining_m = g_distance_target_m;

                    g_distance_speed_command_m_s = 0.0f;

                }

            }

            else

            {

                command_active = true;

                g_drive_command_active = 1U;

            }

        }

        const uint32_t flags = osEventFlagsGet(SystemEventsHandle);

        if (command_active)

        {

            uint32_t command_age_ms =

                now_ms - active_command.received_at_ms;

            g_drive_command_age_ms = command_age_ms;

            if ((active_command.command_type ==

                 AMR_MOTION_COMMAND_WHEEL_SPEED) &&

                ((active_command.left_target_mrad_s != 0) ||
                 (active_command.right_target_mrad_s != 0)) &&

                (command_age_ms >

                 (uint32_t)active_command.timeout_ms))

            {

                /* Mat lenh: dung tai MotorCtrlTask va latch FAULT. */

                DriveMotor_Stop();

                DriveSpeedControl_Reset();

                normal_stop_brake_active = false;
                normal_stop_brake_settle_started_ms = 0U;

                DriveMotionProfile_Reset(&motion_profile_state);

                ImuHeadingHold_Reset(&heading_hold_state);

                TurnController_Cancel(&turn_state);

                DistanceController_Cancel(&distance_state);

                command_active = false;

                g_drive_command_active = 0U;

                g_drive_left_pwm = 0;

                g_drive_right_pwm = 0;

                g_drive_target_left_rad_s = 0.0f;

                g_drive_target_right_rad_s = 0.0f;

                g_heading_hold_active = 0U;

                g_heading_reference_rad = 0.0f;

                g_heading_error_rad = 0.0f;

                g_heading_correction_rad_s = 0.0f;

                g_turn_active = 0U;

                g_turn_status = TURN_CONTROLLER_IDLE;

                g_distance_active = 0U;

                g_distance_status = DISTANCE_CONTROLLER_IDLE;

                ++g_drive_timeout_count;

                (void)osEventFlagsClear(

                    SystemEventsHandle,

                    AMR_EVT_CMD_VALID | AMR_EVT_MOTOR_ENABLED);

                (void)osEventFlagsSet(SystemEventsHandle,

                                      AMR_EVT_FAULT);

            }

            else if (((flags & (AMR_EVT_FAULT | AMR_EVT_ESTOP)) != 0U) ||

                     ((flags & AMR_EVT_MOTOR_ENABLED) == 0U))

            {

                DriveMotor_Stop();

                DriveSpeedControl_Reset();

                normal_stop_brake_active = false;
                normal_stop_brake_settle_started_ms = 0U;

                DriveMotionProfile_Reset(&motion_profile_state);

                ImuHeadingHold_Reset(&heading_hold_state);

                TurnController_Cancel(&turn_state);

                DistanceController_Cancel(&distance_state);

                command_active = false;

                g_drive_command_active = 0U;

                g_drive_left_pwm = 0;

                g_drive_right_pwm = 0;

                g_heading_hold_active = 0U;

                g_heading_reference_rad = 0.0f;

                g_heading_error_rad = 0.0f;

                g_heading_correction_rad_s = 0.0f;

                g_turn_active = 0U;

                g_turn_status = TURN_CONTROLLER_IDLE;

                g_distance_active = 0U;

                g_distance_status = DISTANCE_CONTROLLER_IDLE;

            }

            else if ((active_command.command_type ==

                      AMR_MOTION_COMMAND_WHEEL_SPEED) &&

                     (active_command.left_target_mrad_s == 0) &&

                     (active_command.right_target_mrad_s == 0))

            {

                /*
                 * V3.2 NORMAL STOP ACTIVE BRAKE
                 *
                 * Explicit WHEEL_SPEED 0/0 is a deliberate stop, not a fault.
                 * Keep motor authority active long enough for the V3
                 * drive-speed controller to apply bounded reverse torque from
                 * measured wheel speed. Only after both measured wheel speeds remain settled
                 * continuously (or the bounded handoff timeout expires) do we
                 * release MOTOR_ENABLED and hard-stop the bridge.
                 *
                 * FAULT / ESTOP / motor-disable is handled by the branch above
                 * and remains an immediate DriveMotor_Stop().
                 */
                DriveMotionProfile_Reset(&motion_profile_state);

                ImuHeadingHold_Reset(&heading_hold_state);

                TurnController_Cancel(&turn_state);

                DistanceController_Cancel(&distance_state);

                g_motion_profile_status = DRIVE_MOTION_PROFILE_IDLE;

                g_motion_profile_fault = 0U;

                g_heading_hold_active = 0U;

                g_heading_reference_rad = 0.0f;

                g_heading_error_rad = 0.0f;

                g_heading_correction_rad_s = 0.0f;

                g_turn_active = 0U;

                g_turn_status = TURN_CONTROLLER_IDLE;

                g_distance_active = 0U;

                g_distance_status = DISTANCE_CONTROLLER_IDLE;

                g_drive_target_left_rad_s = 0.0f;

                g_drive_target_right_rad_s = 0.0f;

                if (!kinematics_valid)
                {
                    /*
                     * No trustworthy wheel-speed feedback: do not attempt
                     * active braking. Fall back to the original hard stop.
                     */
                    DriveMotor_Stop();

                    DriveSpeedControl_Reset();

                    normal_stop_brake_active = false;
                    normal_stop_brake_settle_started_ms = 0U;

                    command_active = false;

                    g_drive_command_active = 0U;

                    g_drive_left_pwm = 0;

                    g_drive_right_pwm = 0;

                    g_drive_error_left_rad_s = 0.0f;

                    g_drive_error_right_rad_s = 0.0f;

                    (void)osEventFlagsClear(

                        SystemEventsHandle,

                        AMR_EVT_CMD_VALID | AMR_EVT_MOTOR_ENABLED);
                }
                else
                {
                    if (!normal_stop_brake_active)
                    {
                        normal_stop_brake_active = true;
                        normal_stop_brake_started_ms = now_ms;
                        normal_stop_brake_settle_started_ms = 0U;
                    }

                    DriveSpeedControl_Update(
                        0.0f,
                        0.0f,
                        kinematics.left_speed_rad_s,
                        kinematics.right_speed_rad_s,
                        &control_output);

                    g_drive_target_left_rad_s =
                        control_output.left_target_rad_s;

                    g_drive_target_right_rad_s =
                        control_output.right_target_rad_s;

                    g_drive_error_left_rad_s =
                        control_output.left_error_rad_s;

                    g_drive_error_right_rad_s =
                        control_output.right_error_rad_s;

                    g_drive_left_pwm = control_output.left_pwm;

                    g_drive_right_pwm = control_output.right_pwm;

                    DriveMotor_Set(control_output.left_pwm,
                                   control_output.right_pwm);

                    /*
                     * V3.2 completion authority comes from measured wheel speed,
                     * not from PWM==0.  A one-cycle zero controller output must
                     * never be interpreted as "the chassis is stopped" while
                     * the encoders still report wheel motion.  Require both
                     * wheels to stay below the settle threshold continuously.
                     */
                    const bool normal_stop_wheels_below_settle =
                        (kinematics.left_speed_rad_s <=
                         DRIVE_NORMAL_STOP_SETTLE_RAD_S) &&
                        (kinematics.left_speed_rad_s >=
                         -DRIVE_NORMAL_STOP_SETTLE_RAD_S) &&
                        (kinematics.right_speed_rad_s <=
                         DRIVE_NORMAL_STOP_SETTLE_RAD_S) &&
                        (kinematics.right_speed_rad_s >=
                         -DRIVE_NORMAL_STOP_SETTLE_RAD_S);

                    if (normal_stop_wheels_below_settle)
                    {
                        if (normal_stop_brake_settle_started_ms == 0U)
                        {
                            normal_stop_brake_settle_started_ms = now_ms;
                        }
                    }
                    else
                    {
                        normal_stop_brake_settle_started_ms = 0U;
                    }

                    const bool normal_stop_brake_settled =
                        (normal_stop_brake_settle_started_ms != 0U) &&
                        ((uint32_t)(now_ms -
                         normal_stop_brake_settle_started_ms) >=
                         DRIVE_NORMAL_STOP_SETTLE_HOLD_MS);

                    const bool normal_stop_brake_timed_out =
                        ((uint32_t)(now_ms -
                         normal_stop_brake_started_ms) >=
                         DRIVE_NORMAL_STOP_BRAKE_TIMEOUT_MS);

                    if (normal_stop_brake_settled ||
                        normal_stop_brake_timed_out)
                    {
                        DriveMotor_Stop();

                        DriveSpeedControl_Reset();

                        normal_stop_brake_active = false;
                        normal_stop_brake_settle_started_ms = 0U;

                        command_active = false;

                        g_drive_command_active = 0U;

                        g_drive_left_pwm = 0;

                        g_drive_right_pwm = 0;

                        g_drive_error_left_rad_s = 0.0f;

                        g_drive_error_right_rad_s = 0.0f;

                        (void)osEventFlagsClear(

                            SystemEventsHandle,

                            AMR_EVT_CMD_VALID | AMR_EVT_MOTOR_ENABLED);
                    }
                    else
                    {
                        /*
                         * Keep SafetyTask's normal motor-enable condition valid
                         * during this short, bounded active-brake handoff.
                         */
                        command_active = true;
                        g_drive_command_active = 1U;
                    }
                }

            }

            else if (kinematics_valid)

            {

                float left_target_rad_s = 0.0f;

                float right_target_rad_s = 0.0f;

                if (active_command.command_type ==

                    AMR_MOTION_COMMAND_TURN_RELATIVE)

                {

                    DriveMotionProfile_Reset(&motion_profile_state);

                    g_motion_profile_status = DRIVE_MOTION_PROFILE_IDLE;

                    g_motion_profile_fault = 0U;

                    ImuHeadingHold_Reset(&heading_hold_state);

                    g_heading_hold_active = 0U;

                    g_heading_reference_rad = 0.0f;

                    g_heading_error_rad = 0.0f;

                    g_heading_correction_rad_s = 0.0f;

                    TurnController_Update(

                        &turn_state,

                        (g_imu_ready != 0U),

                        g_imu_yaw_rad,

                        g_imu_gyro_z_rad_s,

                        DRIVE_CONTROL_PERIOD_S,

                        now_ms,

                        &turn_output);

                    g_turn_status = (uint8_t)turn_output.status;

                    g_turn_active = turn_output.active ? 1U : 0U;

                    g_turn_target_angle_rad =

                        turn_output.target_relative_angle_rad;

                    g_turn_traveled_angle_rad =

                        turn_output.traveled_angle_rad;

                    g_turn_error_rad = turn_output.error_rad;

                    g_turn_yaw_rate_command_rad_s =

                        turn_output.yaw_rate_command_rad_s;

                    if (turn_output.completed)

                    {

                        DriveMotor_Stop();

                        DriveSpeedControl_Reset();

                        command_active = false;

                        g_drive_command_active = 0U;

                        g_drive_left_pwm = 0;

                        g_drive_right_pwm = 0;

                        g_drive_target_left_rad_s = 0.0f;

                        g_drive_target_right_rad_s = 0.0f;

                        ++g_turn_complete_count;

                        (void)osEventFlagsClear(

                            SystemEventsHandle,

                            AMR_EVT_CMD_VALID | AMR_EVT_MOTOR_ENABLED);

                    }

                    else if (turn_output.fault)

                    {

                        DriveMotor_Stop();

                        DriveSpeedControl_Reset();

                        command_active = false;

                        g_drive_command_active = 0U;

                        g_drive_left_pwm = 0;

                        g_drive_right_pwm = 0;

                        g_drive_target_left_rad_s = 0.0f;

                        g_drive_target_right_rad_s = 0.0f;

                        if (turn_output.status ==

                            TURN_CONTROLLER_FAULT_TIMEOUT)

                        {

                            ++g_turn_timeout_count;

                        }

                        else

                        {

                            ++g_turn_imu_fault_count;

                        }

                        (void)osEventFlagsClear(

                            SystemEventsHandle,

                            AMR_EVT_CMD_VALID | AMR_EVT_MOTOR_ENABLED);

                        (void)osEventFlagsSet(SystemEventsHandle,

                                              AMR_EVT_FAULT);

                    }

                    else

                    {

                        left_target_rad_s =

                            turn_output.left_target_rad_s;

                        right_target_rad_s =

                            turn_output.right_target_rad_s;

                    }

                }

                else if (active_command.command_type ==

                         AMR_MOTION_COMMAND_DRIVE_DISTANCE)

                {

                    if (g_imu_ready == 0U)

                    {

                        distance_state.status =

                            DISTANCE_CONTROLLER_FAULT_MEASUREMENT;

                        distance_state.linear_speed_command_m_s = 0.0f;

                    }

                    DistanceController_Update(

                        &distance_state,

                        kinematics.left_position_m,

                        kinematics.right_position_m,

                        kinematics.left_speed_m_s,

                        kinematics.right_speed_m_s,

                        DRIVE_CONTROL_PERIOD_S,

                        now_ms,

                        &distance_output);

                    g_distance_status = (uint8_t)distance_output.status;

                    g_distance_active = distance_output.active ? 1U : 0U;

                    g_distance_target_m =

                        distance_output.target_distance_m;

                    g_distance_traveled_m =

                        distance_output.traveled_distance_m;

                    g_distance_remaining_m =

                        distance_output.remaining_distance_m;

                    g_distance_speed_command_m_s =

                        distance_output.linear_speed_command_m_s;

                    if (distance_output.completed)

                    {

                        DriveMotor_Stop();

                        DriveSpeedControl_Reset();

                        ImuHeadingHold_Reset(&heading_hold_state);

                        command_active = false;

                        g_drive_command_active = 0U;

                        g_drive_left_pwm = 0;

                        g_drive_right_pwm = 0;

                        g_drive_target_left_rad_s = 0.0f;

                        g_drive_target_right_rad_s = 0.0f;

                        g_heading_hold_active = 0U;

                        ++g_distance_complete_count;

                        (void)osEventFlagsClear(

                            SystemEventsHandle,

                            AMR_EVT_CMD_VALID | AMR_EVT_MOTOR_ENABLED);

                    }

                    else if (distance_output.fault)

                    {

                        DriveMotor_Stop();

                        DriveSpeedControl_Reset();

                        ImuHeadingHold_Reset(&heading_hold_state);

                        command_active = false;

                        g_drive_command_active = 0U;

                        g_drive_left_pwm = 0;

                        g_drive_right_pwm = 0;

                        g_drive_target_left_rad_s = 0.0f;

                        g_drive_target_right_rad_s = 0.0f;

                        g_heading_hold_active = 0U;

                        if (distance_output.status ==

                            DISTANCE_CONTROLLER_FAULT_TIMEOUT)

                        {

                            ++g_distance_timeout_count;

                        }

                        else

                        {

                            ++g_distance_measurement_fault_count;

                        }

                        (void)osEventFlagsClear(

                            SystemEventsHandle,

                            AMR_EVT_CMD_VALID | AMR_EVT_MOTOR_ENABLED);

                        (void)osEventFlagsSet(SystemEventsHandle,

                                              AMR_EVT_FAULT);

                    }

                    else

                    {

                        const float wheel_radius_m =

                            DRIVE_WHEEL_DIAMETER_M * 0.5f;

                        const float common_wheel_target_rad_s =

                            distance_output.linear_speed_command_m_s /

                            wheel_radius_m;

                        ImuHeadingHold_Update(

                            &heading_hold_state,

                            (g_imu_ready != 0U),

                            g_imu_yaw_rad,

                            g_imu_gyro_z_rad_s,

                            common_wheel_target_rad_s,

                            common_wheel_target_rad_s,

                            DRIVE_CONTROL_TARGET_LIMIT_RAD_S,

                            DRIVE_CONTROL_PERIOD_S,

                            &heading_hold_output);

                        g_heading_hold_active =

                            heading_hold_output.active ? 1U : 0U;

                        g_heading_reference_rad =

                            heading_hold_output.reference_yaw_rad;

                        g_heading_error_rad =

                            heading_hold_output.error_rad;

                        g_heading_correction_rad_s =

                            heading_hold_output.correction_rad_s;

                        g_heading_desired_yaw_rate_rad_s =

                            heading_hold_output.desired_yaw_rate_rad_s;

                        g_heading_yaw_rate_error_rad_s =

                            heading_hold_output.yaw_rate_error_rad_s;

                        g_heading_rate_ff_correction_rad_s =

                            heading_hold_output.rate_ff_correction_rad_s;

                        g_heading_rate_p_correction_rad_s =

                            heading_hold_output.rate_p_correction_rad_s;

                        g_heading_rate_i_correction_rad_s =

                            heading_hold_output.rate_i_correction_rad_s;

                        g_heading_controller_version =

                            heading_hold_output.controller_version;

                        g_heading_correction_saturated =

                            heading_hold_output.correction_saturated ?

                            1U : 0U;

                        left_target_rad_s =

                            heading_hold_output.left_target_rad_s;

                        right_target_rad_s =

                            heading_hold_output.right_target_rad_s;

                    }

                }

                else

                {

                    const float requested_left_rad_s =

                        (float)active_command.left_target_mrad_s * 0.001f;

                    const float requested_right_rad_s =

                        (float)active_command.right_target_mrad_s * 0.001f;

                    /*

                     * AUTO WHEEL_SPEED is the ROS trajectory-control path.

                     * In this mode ROS owns yaw continuously.  Do not place

                     * another heading/caster controller between ROS and the

                     * wheel-speed PI because both legacy blocks use the same

                     * small wheel-difference threshold and can create a hidden

                     * authority handoff / steering discontinuity.

                     *

                     * MANUAL WHEEL_SPEED keeps the commissioned legacy

                     * motion-profile + heading-hold behavior.  TURN_RELATIVE

                     * and DRIVE_DISTANCE are handled by their own branches

                     * above and are intentionally unchanged.

                     */

                    if (AppComm_GetMode() == AMR_MODE_AUTO)

                    {

                        DriveMotionProfile_Reset(&motion_profile_state);

                        g_motion_profile_status = DRIVE_MOTION_PROFILE_IDLE;

                        g_motion_profile_fault = 0U;

                        ImuHeadingHold_Reset(&heading_hold_state);

                        g_heading_hold_active = 0U;

                        g_heading_reference_rad = 0.0f;

                        g_heading_error_rad = 0.0f;

                        g_heading_correction_rad_s = 0.0f;

                        g_heading_desired_yaw_rate_rad_s = 0.0f;

                        g_heading_yaw_rate_error_rad_s = 0.0f;

                        g_heading_rate_ff_correction_rad_s = 0.0f;

                        g_heading_rate_p_correction_rad_s = 0.0f;

                        g_heading_rate_i_correction_rad_s = 0.0f;

                        g_heading_correction_saturated = 0U;

                        left_target_rad_s = requested_left_rad_s;

                        right_target_rad_s = requested_right_rad_s;

                    }

                    else

                    {

                        DriveMotionProfile_Update(

                            &motion_profile_state,

                            (g_imu_ready != 0U),

                            g_imu_yaw_rad,

                            g_imu_gyro_z_rad_s,

                            requested_left_rad_s,

                            requested_right_rad_s,

                            DRIVE_CONTROL_PERIOD_S,

                            now_ms,

                            &motion_profile_output);

                        g_motion_profile_status =

                            motion_profile_output.status;

                        g_motion_profile_fault =

                            motion_profile_output.fault ? 1U : 0U;

                        ImuHeadingHold_Update(

                            &heading_hold_state,

                            (g_imu_ready != 0U),

                            g_imu_yaw_rad,

                            g_imu_gyro_z_rad_s,

                            motion_profile_output.left_target_rad_s,

                            motion_profile_output.right_target_rad_s,

                            DRIVE_CONTROL_TARGET_LIMIT_RAD_S,

                            DRIVE_CONTROL_PERIOD_S,

                            &heading_hold_output);

                        g_heading_hold_active =

                            heading_hold_output.active ? 1U : 0U;

                        g_heading_reference_rad =

                            heading_hold_output.reference_yaw_rad;

                        g_heading_error_rad =

                            heading_hold_output.error_rad;

                        g_heading_correction_rad_s =

                            heading_hold_output.correction_rad_s;

                        g_heading_desired_yaw_rate_rad_s =

                            heading_hold_output.desired_yaw_rate_rad_s;

                        g_heading_yaw_rate_error_rad_s =

                            heading_hold_output.yaw_rate_error_rad_s;

                        g_heading_rate_ff_correction_rad_s =

                            heading_hold_output.rate_ff_correction_rad_s;

                        g_heading_rate_p_correction_rad_s =

                            heading_hold_output.rate_p_correction_rad_s;

                        g_heading_rate_i_correction_rad_s =

                            heading_hold_output.rate_i_correction_rad_s;

                        g_heading_controller_version =

                            heading_hold_output.controller_version;

                        g_heading_correction_saturated =

                            heading_hold_output.correction_saturated ?

                            1U : 0U;

                        left_target_rad_s =

                            heading_hold_output.left_target_rad_s;

                        right_target_rad_s =

                            heading_hold_output.right_target_rad_s;

                    }

                }

                if (command_active)

                {

                    DriveSpeedControl_Update(

                        left_target_rad_s,

                        right_target_rad_s,

                        kinematics.left_speed_rad_s,

                        kinematics.right_speed_rad_s,

                        &control_output);

                    g_drive_target_left_rad_s =

                        control_output.left_target_rad_s;

                    g_drive_target_right_rad_s =

                        control_output.right_target_rad_s;

                    g_drive_error_left_rad_s =

                        control_output.left_error_rad_s;

                    g_drive_error_right_rad_s =

                        control_output.right_error_rad_s;

                    g_drive_left_pwm = control_output.left_pwm;

                    g_drive_right_pwm = control_output.right_pwm;

                    DriveMotor_Set(control_output.left_pwm,

                                   control_output.right_pwm);

                }

            }

        }

        else

        {

            DriveMotor_Stop();

            DriveMotionProfile_Reset(&motion_profile_state);

            ImuHeadingHold_Reset(&heading_hold_state);

            g_drive_command_age_ms = 0U;

            g_drive_left_pwm = 0;

            g_drive_right_pwm = 0;

            g_heading_hold_active = 0U;

            g_heading_reference_rad = 0.0f;

            g_heading_error_rad = 0.0f;

            g_heading_correction_rad_s = 0.0f;

        }

        if (!command_active ||

            (active_command.command_type != AMR_MOTION_COMMAND_WHEEL_SPEED))

        {

            g_motion_profile_status = DRIVE_MOTION_PROFILE_IDLE;

            g_motion_profile_fault = 0U;

        }

        if (g_heading_hold_active == 0U)

        {

            g_heading_desired_yaw_rate_rad_s = 0.0f;

            g_heading_yaw_rate_error_rad_s = 0.0f;

            g_heading_rate_ff_correction_rad_s = 0.0f;

            g_heading_rate_p_correction_rad_s = 0.0f;

            g_heading_rate_i_correction_rad_s = 0.0f;

            g_heading_controller_version =

                (IMU_HEADING_HOLD_V2_ENABLE != 0) ? 2U : 1U;

            g_heading_correction_saturated = 0U;

        }

        next_wake += 5U; /* Chu ky dieu khien 200 Hz */

        (void)osDelayUntil(next_wake);

    }

  /* USER CODE END StartMotorCtrlTask */

}

void StartCommTask(void *argument)

{

  /* USER CODE BEGIN StartCommTask */

    AppComm_Run();

    /* Task must not return */

    for (;;)

    {

        osDelay(1000);

    }

  /* USER CODE END StartCommTask */

}

void StartImuTask(void *argument)

{

  /* USER CODE BEGIN StartImuTask */

    const uint32_t period_ms = 10U; /* 100 Hz */

    Bno055Device_t imu = {0};

    Bno055Sample_t sample = {0};

    ImuHeadingState_t heading_state = {0};

    ImuHeadingOutput_t heading_output = {0};

    uint32_t next_wake = osKernelGetTickCount();

    uint32_t consecutive_read_errors = 0U;

    bool initialized = false;

    /* De cac nguon 3.3 V va 5 V on dinh sau khi khoi dong. */

    osDelay(200U);

    for (;;)

    {

        if (!initialized)

        {

            g_imu_ready = 0U;

            g_imu_who_am_i = 0U;

            g_imu_raw_gyro_z_dps = 0.0f;

            g_imu_filtered_gyro_z_dps = 0.0f;

            g_imu_bno_fused_yaw_rad = 0.0f;

            g_imu_yaw_deg = 0.0f;

            g_imu_bno_fused_yaw_deg = 0.0f;

            g_imu_stationary_count = 0U;

            g_imu_rejected_orientation_count = 0U;

            (void)osEventFlagsClear(SystemEventsHandle,

                                    AMR_EVT_IMU_READY);

            if (!Bno055_Init(&imu, &hi2c1))

            {

                ++g_imu_error_count;

                osDelay(500U);

                continue;

            }

            ImuHeading_Init(&heading_state);

            heading_output = (ImuHeadingOutput_t){0};

            consecutive_read_errors = 0U;

            g_imu_who_am_i = imu.chip_id;

            next_wake = osKernelGetTickCount();

            initialized = true;

        }

        if (Bno055_ReadSample(&imu, &sample))

        {

            consecutive_read_errors = 0U;

            ++g_imu_sample_count;

            g_imu_accel_x_m_s2 = sample.accel_m_s2[0];

            g_imu_accel_y_m_s2 = sample.accel_m_s2[1];

            g_imu_accel_z_m_s2 = sample.accel_m_s2[2];

            g_imu_temperature_c = sample.temperature_c;

            /* Raw source-side diagnostics before ImuHeading filtering. */

            g_imu_raw_gyro_z_dps = sample.gyro_dps[2];

            g_imu_bno_fused_yaw_rad = sample.fused_yaw_rad;

            ImuHeading_Update(&heading_state,

                              &sample,

                              0.010f,

                              &heading_output);

            /* Manual relative-yaw zero.

             *

             * IMPORTANT:

             * - no STM32 reset

             * - no BNO055 reset

             * - no recalibration

             * - no ROS reset

             *

             * The request is consumed only when the estimator is READY and

             * this sample is valid. If not ready yet, leave request asserted

             * and expose status=2 so the operator can see it is waiting.

             */

            if (g_imu_zero_request != 0U)

            {

                if (ImuHeading_ZeroYaw(&heading_state,

                                       &sample,

                                       &heading_output))

                {

                    ++g_imu_zero_count;

                    g_imu_zero_status = 1U;

                    g_imu_zero_request = 0U;

                }

                else

                {

                    g_imu_zero_status = 2U;

                }

            }

            else if (g_imu_zero_status == 1U)

            {

                /* Keep SUCCESS visible until the next normal sample, then

                 * return to IDLE. */

                g_imu_zero_status = 0U;

            }

            g_imu_calibration_count =

                heading_output.calibration_count;

            g_imu_calibration_reset_count =

                heading_output.calibration_reset_count;

            g_imu_gyro_bias_z_dps =

                heading_output.gyro_bias_z_dps;

            g_imu_gyro_z_dps = heading_output.gyro_z_dps;

            g_imu_gyro_z_rad_s = heading_output.gyro_z_rad_s;

            g_imu_yaw_rad = heading_output.yaw_rad;

            /* Display only: convert radians -> degrees.

             * Does not feed back into control.

             */

            g_imu_yaw_deg = g_imu_yaw_rad * 57.29577951308232f;

            g_imu_bno_fused_yaw_deg =

                g_imu_bno_fused_yaw_rad * 57.29577951308232f;

            /* Internal anti-noise filter diagnostics for CubeIDE Live Expressions. */

            g_imu_filtered_gyro_z_dps = heading_state.filtered_gyro_z_dps;

            g_imu_stationary_count = heading_state.stationary_count;

            g_imu_rejected_orientation_count =

                heading_state.rejected_orientation_count;

            if (heading_output.ready)

            {

                g_imu_ready = 1U;

                (void)osEventFlagsSet(SystemEventsHandle,

                                      AMR_EVT_IMU_READY);

            }

            else

            {

                /* Fail closed: never leave a stale READY flag asserted if

                 * the source filter rejects orientation or re-calibrates.

                 */

                g_imu_ready = 0U;

                (void)osEventFlagsClear(SystemEventsHandle,

                                        AMR_EVT_IMU_READY);

            }

        }

        else

        {

            ++g_imu_error_count;

            ++consecutive_read_errors;

            if (consecutive_read_errors >= 10U)

            {

                initialized = false;

                g_imu_ready = 0U;

                (void)osEventFlagsClear(SystemEventsHandle,

                                        AMR_EVT_IMU_READY);

            }

        }

        next_wake += period_ms;

        (void)osDelayUntil(next_wake);

    }

  /* USER CODE END StartImuTask */

}

void StartTelemetryTask(void *argument)

{

  /* USER CODE BEGIN StartTelemetryTask */

    const uint32_t period_ms = 20U; /* Chan doan 50 Hz, du nhe cho USB CDC. */

    uint32_t next_wake = osKernelGetTickCount();

    for (;;)

    {

        const float encoder_yaw_rate_rad_s =

            ((DRIVE_WHEEL_DIAMETER_M * 0.5f) *

             (g_wheel_right_speed_rad_s -

              g_wheel_left_speed_rad_s)) /

            TURN_CONTROLLER_WHEEL_SEPARATION_M;

        const uint32_t command_age_ms = g_drive_command_age_ms;

        const TelemetryData_t telemetry =

        {

            .timestamp_ms = osKernelGetTickCount(),

            .target_left_rad_s = g_drive_target_left_rad_s,

            .target_right_rad_s = g_drive_target_right_rad_s,

            .measured_left_rad_s = g_wheel_left_speed_rad_s,

            .measured_right_rad_s = g_wheel_right_speed_rad_s,

            .pwm_left = g_drive_left_pwm,

            .pwm_right = g_drive_right_pwm,

            .imu_yaw_rad = g_imu_yaw_rad,

            .gyro_z_rad_s = g_imu_gyro_z_rad_s,

            .heading_reference_rad = g_heading_reference_rad,

            .heading_error_rad = g_heading_error_rad,

            .heading_correction_rad_s =

                g_heading_correction_rad_s,

            .desired_yaw_rate_rad_s =

                g_heading_desired_yaw_rate_rad_s,

            .yaw_rate_error_rad_s =

                g_heading_yaw_rate_error_rad_s,

            .yaw_rate_ff_correction_rad_s =

                g_heading_rate_ff_correction_rad_s,

            .yaw_rate_p_correction_rad_s =

                g_heading_rate_p_correction_rad_s,

            .yaw_rate_i_correction_rad_s =

                g_heading_rate_i_correction_rad_s,

            .encoder_yaw_rate_rad_s = encoder_yaw_rate_rad_s,

            .yaw_rate_residual_rad_s =

                g_imu_gyro_z_rad_s - encoder_yaw_rate_rad_s,

            .accel_x_m_s2 = g_imu_accel_x_m_s2,

            .accel_y_m_s2 = g_imu_accel_y_m_s2,

            .accel_z_m_s2 = g_imu_accel_z_m_s2,

            .odom_x_m = g_odom_x_m,

            .odom_y_m = g_odom_y_m,

            .odom_yaw_rad = g_odom_yaw_rad,

            .linear_velocity_m_s = g_odom_linear_velocity_m_s,

            .angular_velocity_rad_s = g_odom_angular_velocity_rad_s,

            .sample_count = g_odom_sample_count,

            .command_refresh_count = g_drive_command_refresh_count,

            .command_age_ms =

                (command_age_ms > UINT16_MAX) ?

                UINT16_MAX : (uint16_t)command_age_ms,

            .command_active = g_drive_command_active,

            .heading_hold_active = g_heading_hold_active,

            .imu_ready = g_imu_ready,

            .odom_valid = g_odom_ready,

            .mode = AppComm_GetMode(),

            .heading_controller_version =

                g_heading_controller_version,

            .heading_correction_saturated =

                g_heading_correction_saturated,

            .motion_profile_status = g_motion_profile_status,

            .motion_profile_fault = g_motion_profile_fault

        };

        /* Khong block task; neu day thi bo snapshot cu nhat. */

        if (osMessageQueuePut(TelemetryQueueHandle,

                              &telemetry,

                              0U,

                              0U) != osOK)

        {

            TelemetryData_t discarded;

            (void)osMessageQueueGet(TelemetryQueueHandle,

                                    &discarded,

                                    NULL,

                                    0U);

            (void)osMessageQueuePut(TelemetryQueueHandle,

                                    &telemetry,

                                    0U,

                                    0U);

        }

        next_wake += period_ms;

        (void)osDelayUntil(next_wake);

    }

  /* USER CODE END StartTelemetryTask */

}

void StartDiagTask(void *argument)

{

  /* USER CODE BEGIN StartDiagTask */

  /* Infinite loop */

  for(;;)

  {

     osDelay(100);

  }

  /* USER CODE END StartDiagTask */

}
